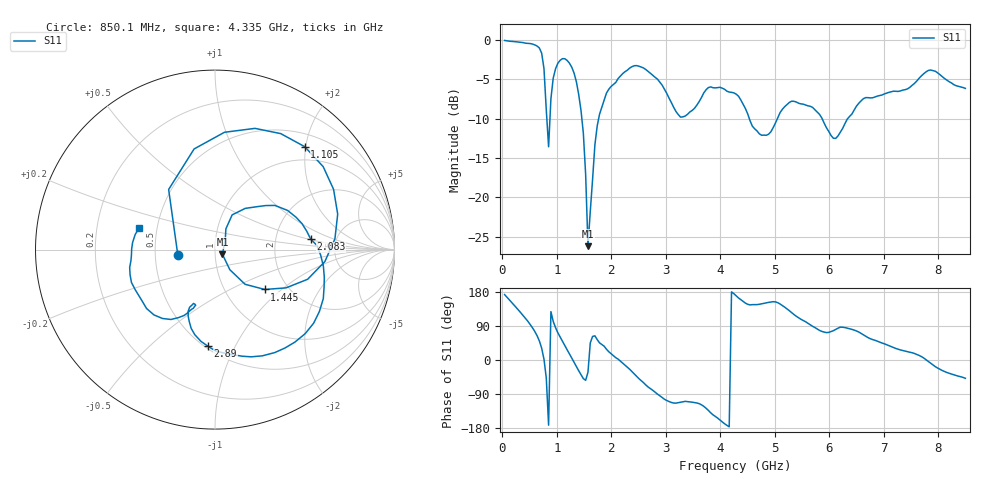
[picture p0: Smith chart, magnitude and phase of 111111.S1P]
!Keysight Technologies,E5071C,MY46106721,B.14.12
!Date: Thu Jun 12 12:15:09 2025
!Data & Calibration Information:
!Freq	S11:SOLT1(ON)
!PortZ  Port1:50+j0
!Above PortZ is port z conversion or system Z0 setting when saving the data.
!When reading, reference impedance value at option line is always used.
# Hz S dB R 50
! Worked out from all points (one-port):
!   200 points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, 42.6 MHz to 8.5 GHz, reference 50 ohm
!   lowest |S11| = -26.2 dB at 1.573 GHz (marker M1), VSWR 1.10, Z = 54.2 - j2.85 ohm
!   |S11| at or under -10 dB: 1.46 GHz to 1.769 GHz (308.8 MHz wide, 19.1 % of centre); 4.534 GHz to 5.05 GHz (515.5 MHz wide, 10.8 % of centre); 5.87 GHz to 6.339 GHz (469.3 MHz wide, 7.69 % of centre)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
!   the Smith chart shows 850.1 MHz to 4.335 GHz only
!   S11 on the Smith chart (normalised r, x): 850.1 MHz: 0.66, -0.04; 1.105 GHz: 0.73, +1.98; 1.445 GHz: 1.53, -0.78; 2.083 GHz: 3.22, +0.52; 2.89 GHz: 0.52, -0.79; 4.335 GHz: 0.40, +0.12
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4.25995e7  -0.07 172.6
4.675945e8  -0.44 102.5
6.375925e8  -0.77 64.4
7.225915e8  -1.68 31.3
7.65091e8  -3.63 2.3
8.075905e8  -8.91 -47.4
8.5009e8  -13.58 -172.0
9.35089e8  -4.84 101.7
1.105087e9  -2.37 48.9
1.275085e9  -3.47 5.1
1.445083e9  -8.99 -38.7
1.572582e9  -26.22 -32.4
1.74258e9  -10.91 53.8
2.082576e9  -5.41 6.2
2.167574e9  -4.59 -3.0
2.55007e9  -3.44 -54.6
2.890066e9  -5.36 -94.2
3.230062e9  -9.49 -112.6
3.740056e9  -6.33 -127.3
4.29255e9  -6.89 169.3
4.335049e9  -7.15 163.8
4.760044e9  -12.12 148.2
5.355037e9  -7.81 119.8
6.077528e9  -12.50 77.4
6.417524e9  -9.41 80.8
7.480012e9  -6.03 20.5
7.862508e9  -3.82 -8.4
8.5e9  -6.16 -48.3
